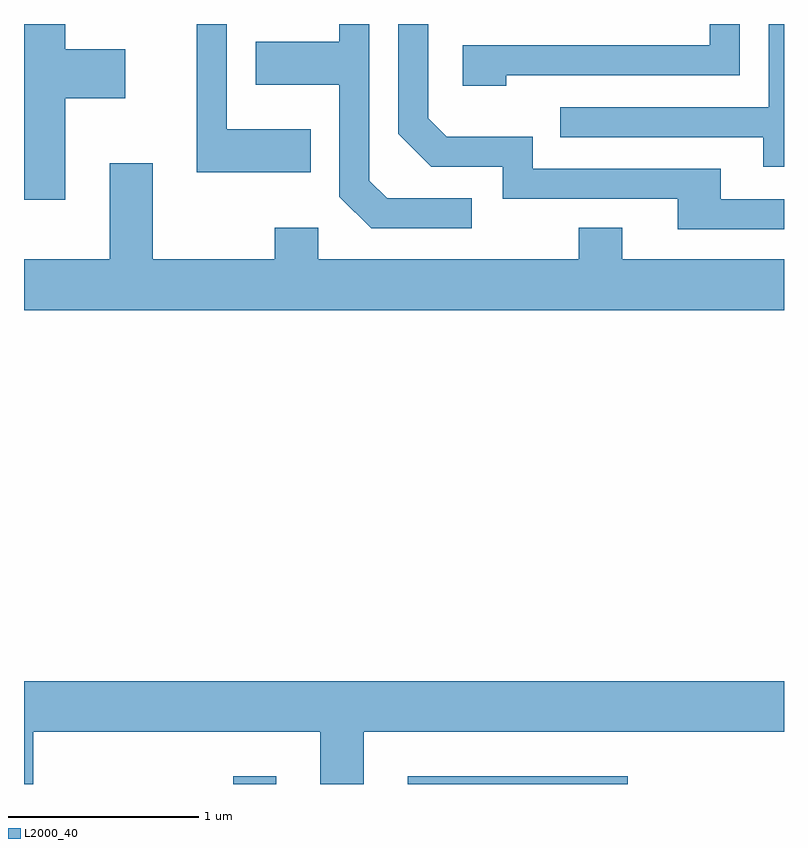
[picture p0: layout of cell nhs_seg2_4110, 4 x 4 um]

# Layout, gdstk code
import gdstk
lib = gdstk.Library(unit=1e-6, precision=1e-09)
def R(c, l, rs):  # rectangles x0, y0, x1, y1
    for r in rs: c.add(gdstk.rectangle(r[:2], r[2:], *l))
def P(c, l, *ps):  # polygons
    for p in ps: c.add(gdstk.Polygon(p, *l))
L2000_40 = (2000, 40)

nhs_seg2_4110 = lib.new_cell('nhs_seg2_4110')
R(nhs_seg2_4110, L2000_40, [(306.711,1065.802,306.939,1065.844), (307.631,1065.802,308.788,1065.844)])
P(nhs_seg2_4110, L2000_40, [(308.149,1069.531),(309.379,1069.531),(309.379,1069.802),(309.221,1069.802),(309.221,1069.689),(307.921,1069.689),(307.921,1069.476),(308.149,1069.476)],
  [(305.829,1069.411),(306.144,1069.411),(306.144,1069.669),(305.829,1069.669),(305.829,1069.802),(305.611,1069.802),(305.611,1068.876),(305.829,1068.876)],
  [(307.968,1068.884),(307.522,1068.884),(307.429,1068.977),(307.429,1069.802),(307.271,1069.802),(307.271,1069.709),(306.831,1069.709),(306.831,1069.481),(307.271,1069.481),(307.271,1068.894),(307.439,1068.726),(307.968,1068.726)],
  [(307.119,1069.249),(306.679,1069.249),(306.679,1069.802),(306.521,1069.802),(306.521,1069.021),(307.119,1069.021)],
  [(309.611,1069.802),(309.531,1069.802),(309.531,1069.364),(308.433,1069.364),(308.433,1069.206),(309.501,1069.206),(309.501,1069.051),(309.611,1069.051)],
  [(309.611,1068.879),(309.279,1068.879),(309.279,1069.039),(308.289,1069.039),(308.289,1069.209),(307.837,1069.209),(307.739,1069.307),(307.739,1069.802),(307.581,1069.802),(307.581,1069.224),(307.754,1069.051),(308.131,1069.051),(308.131,1068.881),(309.051,1068.881),(309.051,1068.721),(309.611,1068.721)],
  [(309.611,1068.564),(308.759,1068.564),(308.759,1068.729),(308.531,1068.729),(308.531,1068.564),(307.159,1068.564),(307.159,1068.729),(306.931,1068.729),(306.931,1068.564),(306.289,1068.564),(306.289,1069.069),(306.061,1069.069),(306.061,1068.564),(305.611,1068.564),(305.611,1068.296),(309.611,1068.296)],
  [(305.659,1066.076),(307.171,1066.076),(307.171,1065.802),(307.399,1065.802),(307.399,1066.076),(309.611,1066.076),(309.611,1066.344),(305.611,1066.344),(305.611,1065.802),(305.659,1065.802)])

lib.write_gds('nhs_seg2_4110.gds')
